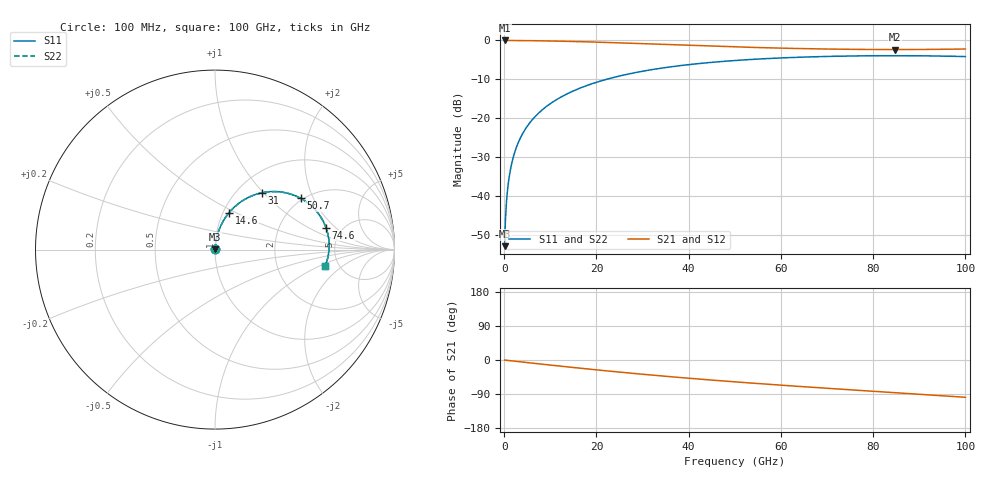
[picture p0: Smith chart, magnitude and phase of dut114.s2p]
! Touchstone file exported from HFSS 2026.1.0
!  File:  C:/ffzhzh/LocalFiles/Ansys_Project_Files/temp_train_RDL_114_1783499342_44152.aedt
!  Generated:  04:30:06 PM Jul  8, 2026
!  Design:  RDL
!  Project:  temp_train_RDL_114_1783499342_44152
! Variables:
!  h_bsmrdl = 2um
!  h_ox = 20um
!  h_rdl = 5um
!  h_sub = 80um
!  h_tmrdl = 3.85um
!  h_tsv = 80um
!  h_via = 3um
!  l_bsmrdl = 300um
!  l_sub = 711.5um
!  l_tmrdl = 311.5um
!  m_sub = 200um
!  pitch = 59.64um
!  r_tsv = 6um
!  s_tmrdl = 10um
!  w_bsmrdl = 18um
!  w_sub = 500um
!  w_tmrdl = 21.07um
!  x_tsv_center1 = 322.035um
!  x_tsv_center2 = 640.035um
!  x_tsv_center3 = 972.605um
!  x_tsv_center4 = 1290.605um
!  x_tsv_center5 = 1623.175um
!  x_tsv_center6 = 1941.175um
# GHz S MA R 50.000000
! Terminal data exported
! Port[1] = TM_RDL1_1_T1
! Port[2] = TM_RDL1_1_T2
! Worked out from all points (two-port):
!   1000 points, 100 MHz to 100 GHz, reference 50 ohm
!   highest |S21| = -0.01 dB at 100 MHz (marker M1); lowest = -2.3 dB at 84.7 GHz (marker M2)
!   |S21| within 3 dB of the highest: start of sweep to end of sweep
!   lowest |S11| = -52.8 dB at 100 MHz (marker M3), VSWR 1.00, Z = 50.2 + j0.17 ohm
!   |S11| at or under -10 dB: start of sweep to 22.14 GHz
!   |S22| runs from -52.8 to -3.9 dB; largest |S21 - S12| = 4.6e-15
!   S11 on the Smith chart (normalised r, x): 100 MHz: 1.00, +0.00; 14.6 GHz: 1.07, +0.46; 31 GHz: 1.29, +0.99; 50.7 GHz: 1.94, +1.61; 74.6 GHz: 3.75, +1.53; 100 GHz: 3.90, -1.16
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0.1  0.002293 47.8  0.9985 -0.1  0.9985 -0.1  0.002293 47.8
! Gamma 0 0 0 0
! Port Impedance 50 0 50 0
0.8  0.01309 80.7  0.9981 -1.1  0.9981 -1.1  0.01309 80.7
1  0.01624 81.9  0.998 -1.4  0.998 -1.4  0.01624 81.9
1.3  0.02099 82.9  0.9978 -1.8  0.9978 -1.8  0.02099 82.9
1.7  0.02734 83.4  0.9976 -2.3  0.9976 -2.3  0.02734 83.4
2.2  0.03527 83.5  0.9972 -3.0  0.9972 -3.0  0.03527 83.5
3.5  0.05576 82.6  0.9959 -4.8  0.9959 -4.8  0.05576 82.6
5.4  0.08526 80.5  0.9932 -7.3  0.9932 -7.3  0.08526 80.5
7.8  0.1217 77.6  0.9886 -10.5  0.9886 -10.5  0.1217 77.6
10.9  0.1672 73.8  0.9811 -14.6  0.9811 -14.6  0.1672 73.8
14.6  0.2193 69.2  0.9701 -19.3  0.9701 -19.3  0.2193 69.2
16.8  0.2489 66.6  0.9626 -22.1  0.9626 -22.1  0.2489 66.6
23.2  0.3287 59.0  0.9377 -29.8  0.9377 -29.8  0.3287 59.0
31  0.4119 50.3  0.9039 -38.7  0.9039 -38.7  0.4119 50.3
33.4  0.4344 47.8  0.8933 -41.3  0.8933 -41.3  0.4344 47.7
50.1  0.5527 31.5  0.8257 -57.7  0.8257 -57.7  0.5527 31.5
50.7  0.5558 31.0  0.8237 -58.3  0.8237 -58.3  0.5558 31.0
66.7  0.6155 17.5  0.7806 -72.0  0.7806 -72.0  0.6155 17.4
74.6  0.6303 11.3  0.7689 -78.3  0.7689 -78.3  0.6303 11.2
83.4  0.6366 4.4  0.7636 -85.2  0.7636 -85.2  0.6366 4.4
84.7  0.6367 3.4  0.7635 -86.2  0.7635 -86.2  0.6367 3.4
100  0.6203 -8.5  0.776 -98.4  0.776 -98.4  0.6203 -8.6
